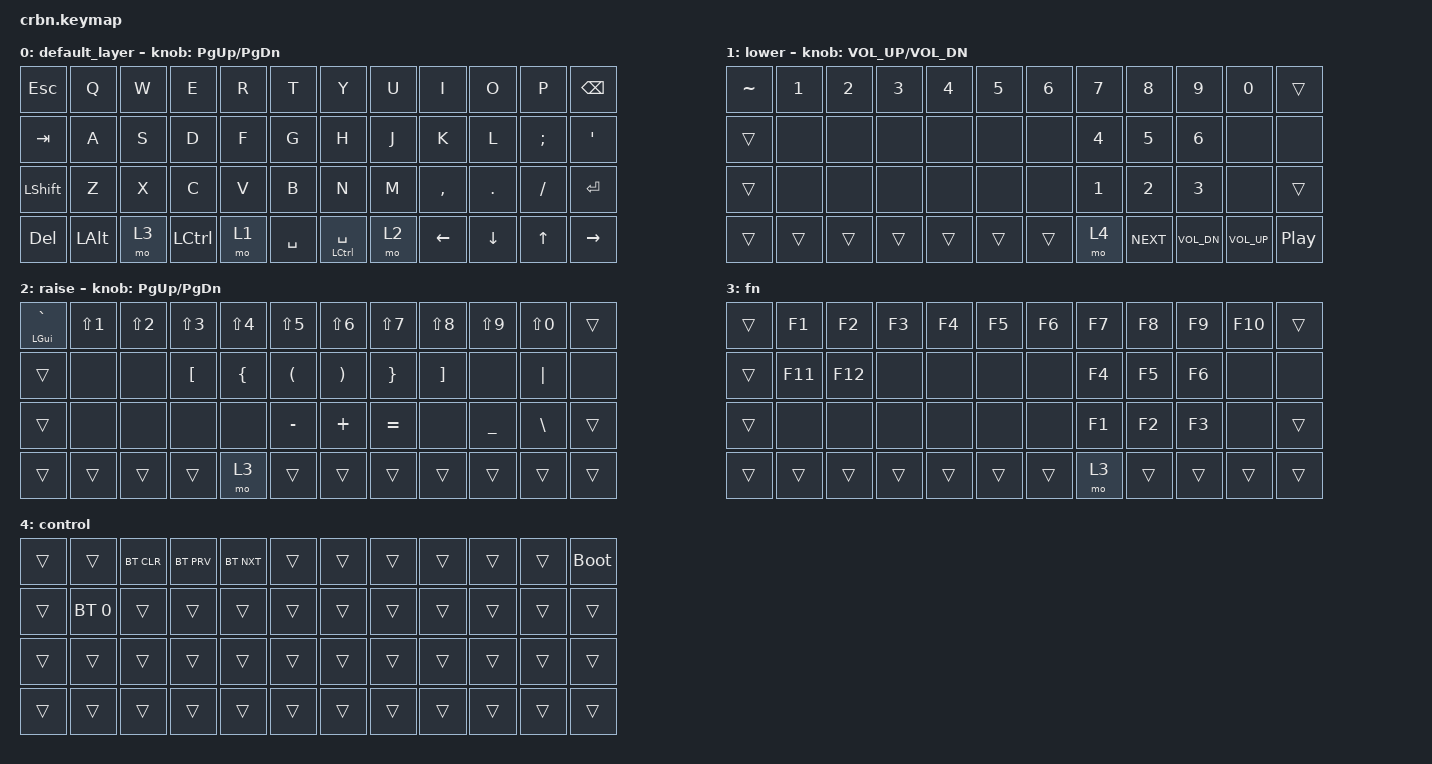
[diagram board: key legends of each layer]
/*
 * Copyright (c) 2020 The ZMK Contributors
 *
 * SPDX-License-Identifier: MIT
 */

#include <behaviors.dtsi>
#include <dt-bindings/zmk/keys.h>
#include <dt-bindings/zmk/bt.h>

/ {
	keymap {
		compatible = "zmk,keymap";

		default_layer {
			// -----------------------------------------------------------------------------------------
			// |  ESC  |  Q   |  W   |  E   |  R   |  T   |   Y   |  U    |  I   |  O   |   P   | BSPC  |
			// |  TAB  |  A   |  S   |  D   |  F   |  G   |   H   |  J    |  K   |  L   |   ;   |  '    |
			// | SHIFT |  Z   |  X   |  C   |  V   |  B   |   N   |  M    |  ,   |  .   |   /   |  RET  |
			// |  DEL  | LALT | FN   | LCTL | LOWR | SPC  |  SPC  |  RAIS | LARW | DARW | UARW  |  RARW |
			bindings = <
				&kp ESC  &kp Q    &kp W &kp E &kp R &kp T  &kp Y   &kp U  &kp I    &kp O   &kp P    &kp BSPC
				&kp TAB  &kp A    &kp S &kp D &kp F &kp G  &kp H   &kp J  &kp K    &kp L   &kp SEMI &kp SQT
				&kp LSHFT &kp Z    &kp X &kp C &kp V &kp B  &kp N   &kp M  &kp COMMA &kp DOT &kp SLASH &kp RET
				&kp DEL   &kp LALT &mo 3 &kp LCTL &mo 1 &kp SPACE &mt LCTL SPACE &mo 2 &kp LEFT &kp DOWN &kp UP &kp RIGHT
			>;

			sensor-bindings = <&inc_dec_kp PG_UP PG_DN>;
		};

		lower {
			bindings = <
				&kp TILDE &kp N1 &kp N2 &kp N3 &kp N4 &kp N5 &kp N6 &kp N7 &kp N8 &kp N9 &kp N0 &trans
				&trans &none  &none &none &none &none &none &kp N4 &kp N5 &kp N6 &none &none
				&trans &none  &none &none &none &none &none &kp N1 &kp N2 &kp N3 &none &trans
				&trans &trans &trans &trans &trans &trans &trans &mo 4 &kp C_NEXT &kp C_VOL_DN &kp C_VOL_UP &kp C_PP
			>;

			sensor-bindings = <&inc_dec_kp C_VOL_UP C_VOL_DN>;
		};

		raise {
			bindings = <
				&mt LGUI GRAVE &kp LS(N1) &kp LS(N2) &kp LS(N3) &kp LS(N4) &kp LS(N5) &kp LS(N6) &kp LS(N7) &kp LS(N8) &kp LS(N9) &kp LS(N0) &trans
				&trans &none  &none &kp LBKT &kp LBRC &kp LPAR &kp RPAR &kp RBRC &kp RBKT &none &kp PIPE &none
				&trans &none &none &none &none &kp MINUS &kp PLUS &kp EQUAL &none &kp UNDER &kp BSLH &trans
				&trans &trans &trans &trans &mo 3 &trans &trans &trans &trans &trans &trans &trans
			>;

			sensor-bindings = <&inc_dec_kp PG_UP PG_DN>;
		};

		fn {
			bindings = <
				&trans &kp F1 &kp F2 &kp F3 &kp F4 &kp F5 &kp F6 &kp F7 &kp F8 &kp F9 &kp F10 &trans
				&trans &kp F11  &kp F12 &none &none &none &none &kp F4 &kp F5 &kp F6 &none &none
				&trans &none  &none &none &none &none &none &kp F1 &kp F2 &kp F3 &none &trans
				&trans &trans &trans &trans &trans &trans &trans &mo 3 &trans &trans &trans &trans
			>;
		};

		control {
			bindings = <
				&trans &trans &bt BT_CLR &bt BT_PRV &bt BT_NXT &trans &trans &trans &trans &trans &trans &bootloader
				&trans &bt BT_SEL 0 &trans &trans &trans &trans &trans &trans &trans &trans &trans &trans
				&trans &trans &trans &trans &trans &trans &trans &trans &trans &trans &trans &trans
				&trans &trans &trans &trans &trans &trans &trans &trans &trans &trans &trans &trans
			>;
		};
	};
};
